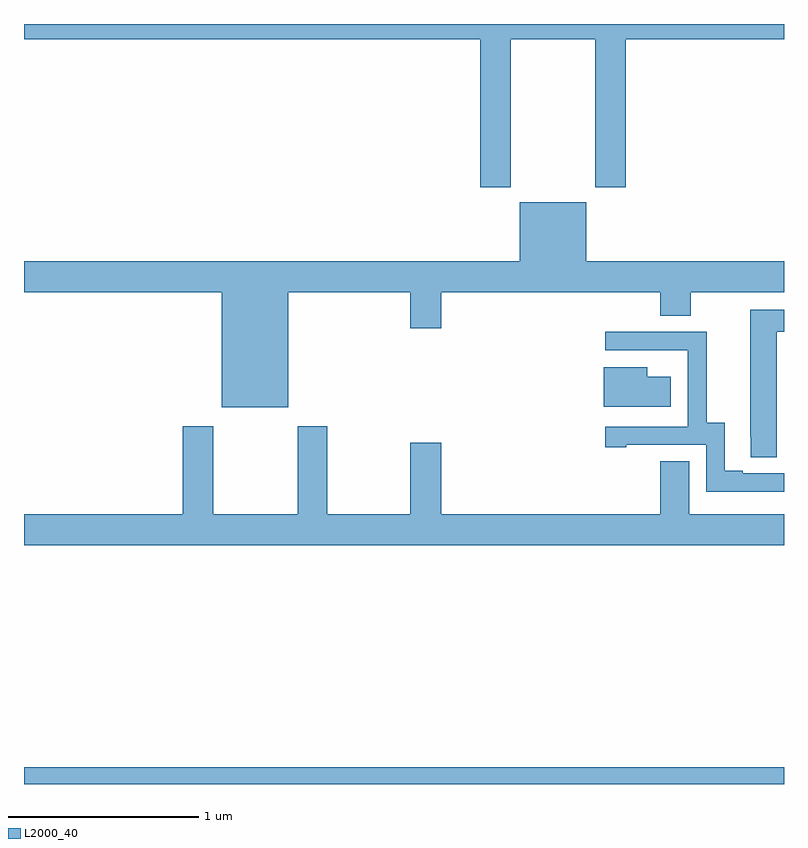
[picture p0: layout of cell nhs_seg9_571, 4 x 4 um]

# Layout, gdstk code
import gdstk
lib = gdstk.Library(unit=1e-6, precision=1e-09)
def R(c, l, rs):  # rectangles x0, y0, x1, y1
    for r in rs: c.add(gdstk.rectangle(r[:2], r[2:], *l))
def P(c, l, *ps):  # polygons
    for p in ps: c.add(gdstk.Polygon(p, *l))
L2000_40 = (2000, 40)

nhs_seg9_571 = lib.new_cell('nhs_seg9_571')
R(nhs_seg9_571, L2000_40, [(139,1192.5,143,1192.588)])
P(nhs_seg9_571, L2000_40, [(141.561,1196.42),(142.006,1196.42),(142.006,1195.641),(142.166,1195.641),(142.166,1196.42),(143,1196.42),(143,1196.5),(139,1196.5),(139,1196.42),(141.401,1196.42),(141.401,1195.641),(141.561,1195.641)],
  [(140.392,1195.088),(141.032,1195.088),(141.032,1194.9),(141.196,1194.9),(141.196,1195.088),(142.349,1195.088),(142.349,1194.964),(142.509,1194.964),(142.509,1195.088),(143,1195.088),(143,1195.252),(141.958,1195.252),(141.958,1195.561),(141.608,1195.561),(141.608,1195.252),(139,1195.252),(139,1195.088),(140.042,1195.088),(140.042,1194.482),(140.392,1194.482)],
  [(142.963,1194.88),(143,1194.88),(143,1194.996),(142.823,1194.996),(142.823,1194.328),(142.824,1194.328),(142.824,1194.22),(142.963,1194.22)],
  [(143,1194.135),(142.783,1194.135),(142.783,1194.15),(142.687,1194.15),(142.687,1194.401),(142.593,1194.401),(142.593,1194.879),(142.059,1194.879),(142.059,1194.783),(142.493,1194.783),(142.493,1194.782),(142.494,1194.782),(142.494,1194.381),(142.059,1194.381),(142.059,1194.273),(142.171,1194.273),(142.171,1194.285),(142.59,1194.285),(142.59,1194.039),(143,1194.039)],
  [(142.405,1194.643),(142.279,1194.643),(142.279,1194.694),(142.052,1194.694),(142.052,1194.485),(142.405,1194.485)],
  [(143,1193.92),(142.501,1193.92),(142.501,1194.2),(142.349,1194.2),(142.349,1193.92),(141.196,1193.92),(141.196,1194.295),(141.032,1194.295),(141.032,1193.92),(140.595,1193.92),(140.595,1194.382),(140.44,1194.382),(140.44,1193.92),(139.995,1193.92),(139.995,1194.382),(139.835,1194.382),(139.835,1193.92),(139,1193.92),(139,1193.756),(143,1193.756)])

lib.write_gds('nhs_seg9_571.gds')
